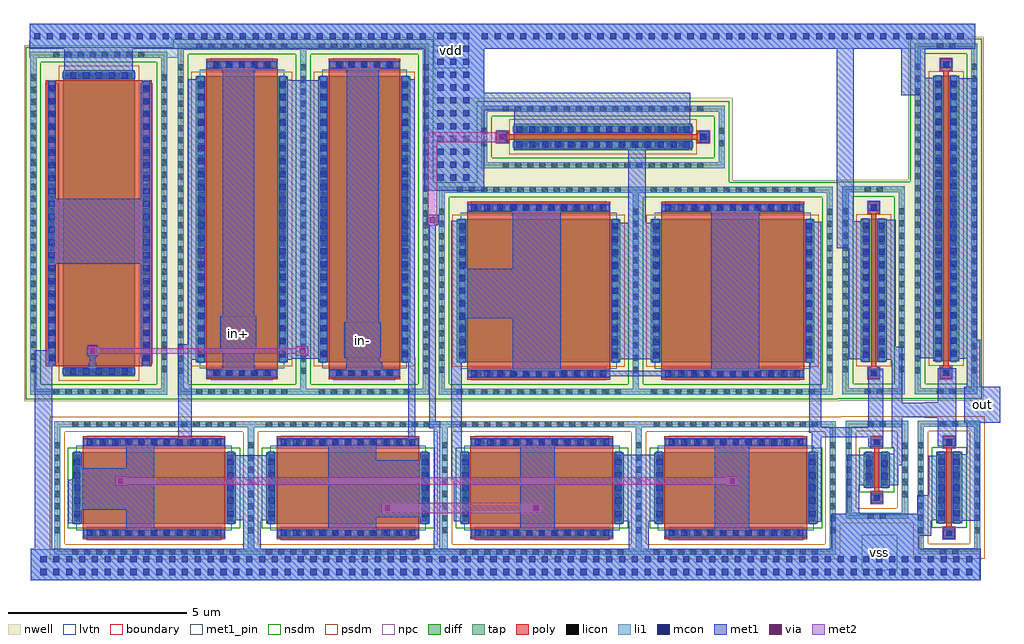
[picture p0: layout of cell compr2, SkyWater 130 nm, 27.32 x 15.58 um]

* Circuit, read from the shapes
.subckt compr2 in+ in- out vdd vss
XM1 vss n1 n1 vss sky130_fd_pr__nfet_01v8_lvt w=2 l=4
XM2 n2 n2 vss vss sky130_fd_pr__nfet_01v8_lvt w=2 l=4
XM3 vss n2 n3 vss sky130_fd_pr__nfet_01v8_lvt w=2 l=4
XM4 n4 n1 vss vss sky130_fd_pr__nfet_01v8_lvt w=2 l=4
XM5 n5 n4 vss vss sky130_fd_pr__nfet_01v8 w=1 l=0.15
XM6 out n5 vss vss sky130_fd_pr__nfet_01v8 w=2 l=0.15
XM7 vdd vss n6 vdd sky130_fd_pr__pfet_01v8 w=2 l=8
XM8 n6 in+ n1 vdd sky130_fd_pr__pfet_01v8_lvt w=8 l=2
XM9 n2 in- n6 vdd sky130_fd_pr__pfet_01v8_lvt w=8 l=2
XM10 n7 n3 n3 vdd sky130_fd_pr__pfet_01v8_lvt w=4 l=4
XM11 vdd vss n7 vdd sky130_fd_pr__pfet_01v8 w=5 l=0.15
XM12 n4 n3 n7 vdd sky130_fd_pr__pfet_01v8_lvt w=4 l=4
XM13 n5 n4 vdd vdd sky130_fd_pr__pfet_01v8 w=4 l=0.15
XM14 out n5 vdd vdd sky130_fd_pr__pfet_01v8 w=8 l=0.15
.ends

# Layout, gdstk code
from math import pi, radians
import gdstk
lib = gdstk.Library(unit=1e-6, precision=1e-09)
def R(c, l, rs):  # rectangles x0, y0, x1, y1
    for r in rs: c.add(gdstk.rectangle(r[:2], r[2:], *l))
def A(c, l, x, y, w, h, nx, ny, dx, dy):  # array of equal rectangles
    R(c, l, [(x+i*dx, y+j*dy, x+i*dx+w, y+j*dy+h) for i in range(nx) for j in range(ny)])
nwell = (64, 20)
diff = (65, 20)
tap = (65, 44)
poly = (66, 20)
licon = (66, 44)
li1 = (67, 20)
mcon = (67, 44)
met1_pin = (68, 16)
met1 = (68, 20)
via = (68, 44)
met2 = (69, 20)
nsdm = (93, 44)
psdm = (94, 20)
npc = (95, 20)
lvtn = (125, 44)
boundary = (235, 4)

sky130_fd_pr__nfet_01v8_ = lib.new_cell('sky130_fd_pr__nfet_01v8_lvt_FMZK9W')
R(sky130_fd_pr__nfet_01v8_, diff, [(-2.29,-1,2.29,1)])
R(sky130_fd_pr__nfet_01v8_, tap, [(-2.8,-1.87,2.8,-1.7), (-2.8,-1.7,-2.63,1.7), (2.63,-1.7,2.8,1.7), (-2.8,1.7,2.8,1.87)])
R(sky130_fd_pr__nfet_01v8_, poly, [(-2,-1.44,2,1.44)])
A(sky130_fd_pr__nfet_01v8_, licon, -2.295, -1.87, 0.17, 0.17, 14, 2, 0.34, 3.57)
A(sky130_fd_pr__nfet_01v8_, licon, -1.785, -1.36, 0.17, 0.17, 11, 2, 0.34, 2.55)
A(sky130_fd_pr__nfet_01v8_, licon, -2.8, -1.275, 0.17, 0.17, 1, 8, 0, 0.34)
A(sky130_fd_pr__nfet_01v8_, licon, 2.63, -1.275, 0.17, 0.17, 1, 8, 0, 0.34)
A(sky130_fd_pr__nfet_01v8_, licon, -2.23, -0.935, 0.17, 0.17, 1, 6, 0, 0.34)
A(sky130_fd_pr__nfet_01v8_, licon, 2.06, -0.935, 0.17, 0.17, 1, 6, 0, 0.34)
R(sky130_fd_pr__nfet_01v8_, li1, [(-2.8,-1.87,2.8,-1.7), (-2.8,-1.7,-2.63,1.7), (2.63,-1.7,2.8,1.7), (-2,-1.36,2,-1.19), (-2.23,-1.02,-2.06,1.02), (2.06,-1.02,2.23,1.02), (-2,1.19,2,1.36), (-2.8,1.7,2.8,1.87)])
A(sky130_fd_pr__nfet_01v8_, mcon, -1.885, -1.36, 0.17, 0.17, 11, 2, 0.36, 2.55)
A(sky130_fd_pr__nfet_01v8_, mcon, -2.23, -0.805, 0.17, 0.17, 1, 5, 0, 0.36)
A(sky130_fd_pr__nfet_01v8_, mcon, 2.06, -0.805, 0.17, 0.17, 1, 5, 0, 0.36)
R(sky130_fd_pr__nfet_01v8_, met1, [(-1.98,-1.39,1.98,-1.16), (-2.26,-1,-2.03,1), (2.03,-1,2.26,1), (-1.98,1.16,1.98,1.39)])
R(sky130_fd_pr__nfet_01v8_, nsdm, [(-2.415,-1.125,2.415,1.125)])
R(sky130_fd_pr__nfet_01v8_, psdm, [(-2.925,-1.995,2.925,-1.575), (-2.925,-1.575,-2.505,1.575), (2.505,-1.575,2.925,1.575), (-2.925,1.575,2.925,1.995)])
R(sky130_fd_pr__nfet_01v8_, npc, [(-1.885,-1.46,1.885,-1.09), (-1.885,1.09,1.885,1.46)])
R(sky130_fd_pr__nfet_01v8_, lvtn, [(-2.18,-1.18,2.18,1.18)])
R(sky130_fd_pr__nfet_01v8_, boundary, [(-2.71,-1.78,2.71,1.78)])

sky130_fd_pr__pfet_01v8_ = lib.new_cell('sky130_fd_pr__pfet_01v8_lvt_GWPMZG')
R(sky130_fd_pr__pfet_01v8_, nwell, [(-1.98,-5.095,1.98,5.095)])
R(sky130_fd_pr__pfet_01v8_, diff, [(-1.29,-4,1.29,4)])
R(sky130_fd_pr__pfet_01v8_, tap, [(-1.8,-4.915,1.8,-4.745), (-1.8,-4.745,-1.63,4.745), (1.63,-4.745,1.8,4.745), (-1.8,4.745,1.8,4.915)])
R(sky130_fd_pr__pfet_01v8_, poly, [(-1,-4.485,1,4.485)])
A(sky130_fd_pr__pfet_01v8_, licon, -1.275, -4.915, 0.17, 0.17, 8, 2, 0.34, 9.66)
A(sky130_fd_pr__pfet_01v8_, licon, -0.765, -4.405, 0.17, 0.17, 5, 2, 0.34, 8.64)
A(sky130_fd_pr__pfet_01v8_, licon, -1.8, -4.335, 0.17, 0.17, 1, 26, 0, 0.34)
A(sky130_fd_pr__pfet_01v8_, licon, 1.63, -4.335, 0.17, 0.17, 1, 26, 0, 0.34)
A(sky130_fd_pr__pfet_01v8_, licon, -1.23, -3.825, 0.17, 0.17, 1, 23, 0, 0.34)
A(sky130_fd_pr__pfet_01v8_, licon, 1.06, -3.825, 0.17, 0.17, 1, 23, 0, 0.34)
R(sky130_fd_pr__pfet_01v8_, li1, [(-1.8,-4.915,1.8,-4.745), (-1.8,-4.745,-1.63,4.745), (1.63,-4.745,1.8,4.745), (-1,-4.405,1,-4.235), (-1.23,-4.02,-1.06,4.02), (1.06,-4.02,1.23,4.02), (-1,4.235,1,4.405), (-1.8,4.745,1.8,4.915)])
A(sky130_fd_pr__pfet_01v8_, mcon, -0.805, -4.405, 0.17, 0.17, 5, 2, 0.36, 8.64)
A(sky130_fd_pr__pfet_01v8_, mcon, -1.23, -3.865, 0.17, 0.17, 1, 22, 0, 0.36)
A(sky130_fd_pr__pfet_01v8_, mcon, 1.06, -3.865, 0.17, 0.17, 1, 22, 0, 0.36)
R(sky130_fd_pr__pfet_01v8_, met1, [(-0.98,-4.435,0.98,-4.205), (-1.26,-4,-1.03,4), (1.03,-4,1.26,4), (-0.98,4.205,0.98,4.435)])
R(sky130_fd_pr__pfet_01v8_, nsdm, [(-1.925,-5.04,1.925,-4.62), (-1.925,-4.62,-1.505,4.62), (1.505,-4.62,1.925,4.62), (-1.925,4.62,1.925,5.04)])
R(sky130_fd_pr__pfet_01v8_, psdm, [(-1.415,-4.125,1.415,4.125)])
R(sky130_fd_pr__pfet_01v8_, npc, [(-0.865,-4.505,0.865,-4.135), (-0.865,4.135,0.865,4.505)])
R(sky130_fd_pr__pfet_01v8_, lvtn, [(-1.18,-4.18,1.18,4.18)])
R(sky130_fd_pr__pfet_01v8_, boundary, [(-1.715,-4.83,1.715,4.83)])

c_sky130_fd_pr__pfet_01v8_ = lib.new_cell('sky130_fd_pr__pfet_01v8_GGY9VD')
R(c_sky130_fd_pr__pfet_01v8_, nwell, [(-4.98,-2.095,4.98,2.095)])
R(c_sky130_fd_pr__pfet_01v8_, diff, [(-4.29,-1,4.29,1)])
R(c_sky130_fd_pr__pfet_01v8_, tap, [(-4.8,-1.915,4.8,-1.745), (-4.8,-1.745,-4.63,1.745), (4.63,-1.745,4.8,1.745), (-4.8,1.745,4.8,1.915)])
R(c_sky130_fd_pr__pfet_01v8_, poly, [(-4,-1.485,4,1.485)])
A(c_sky130_fd_pr__pfet_01v8_, licon, -4.165, -1.915, 0.17, 0.17, 25, 2, 0.34, 3.66)
A(c_sky130_fd_pr__pfet_01v8_, licon, -3.825, -1.405, 0.17, 0.17, 23, 2, 0.34, 2.64)
A(c_sky130_fd_pr__pfet_01v8_, licon, -4.8, -1.275, 0.17, 0.17, 1, 8, 0, 0.34)
A(c_sky130_fd_pr__pfet_01v8_, licon, 4.63, -1.275, 0.17, 0.17, 1, 8, 0, 0.34)
A(c_sky130_fd_pr__pfet_01v8_, licon, -4.23, -0.935, 0.17, 0.17, 1, 6, 0, 0.34)
A(c_sky130_fd_pr__pfet_01v8_, licon, 4.06, -0.935, 0.17, 0.17, 1, 6, 0, 0.34)
R(c_sky130_fd_pr__pfet_01v8_, li1, [(-4.8,-1.915,4.8,-1.745), (-4.8,-1.745,-4.63,1.745), (4.63,-1.745,4.8,1.745), (-4,-1.405,4,-1.235), (-4.23,-1.02,-4.06,1.02), (4.06,-1.02,4.23,1.02), (-4,1.235,4,1.405), (-4.8,1.745,4.8,1.915)])
A(c_sky130_fd_pr__pfet_01v8_, mcon, -3.865, -1.405, 0.17, 0.17, 22, 2, 0.36, 2.64)
A(c_sky130_fd_pr__pfet_01v8_, mcon, -4.23, -0.805, 0.17, 0.17, 1, 5, 0, 0.36)
A(c_sky130_fd_pr__pfet_01v8_, mcon, 4.06, -0.805, 0.17, 0.17, 1, 5, 0, 0.36)
R(c_sky130_fd_pr__pfet_01v8_, met1, [(-3.98,-1.435,3.98,-1.205), (-4.26,-1,-4.03,1), (4.03,-1,4.26,1), (-3.98,1.205,3.98,1.435)])
R(c_sky130_fd_pr__pfet_01v8_, nsdm, [(-4.925,-2.04,4.925,-1.62), (-4.925,-1.62,-4.505,1.62), (4.505,-1.62,4.925,1.62), (-4.925,1.62,4.925,2.04)])
R(c_sky130_fd_pr__pfet_01v8_, psdm, [(-4.415,-1.125,4.415,1.125)])
R(c_sky130_fd_pr__pfet_01v8_, npc, [(-3.925,-1.505,3.925,-1.135), (-3.925,1.135,3.925,1.505)])
R(c_sky130_fd_pr__pfet_01v8_, boundary, [(-4.715,-1.83,4.715,1.83)])

c_sky130_fd_pr__pfet_01v8__ = lib.new_cell('sky130_fd_pr__pfet_01v8_lvt_ZQZ9VD')
R(c_sky130_fd_pr__pfet_01v8__, nwell, [(-2.98,-3.095,2.98,3.095)])
R(c_sky130_fd_pr__pfet_01v8__, diff, [(-2.29,-2,2.29,2)])
R(c_sky130_fd_pr__pfet_01v8__, tap, [(-2.8,-2.915,2.8,-2.745), (-2.8,-2.745,-2.63,2.745), (2.63,-2.745,2.8,2.745), (-2.8,2.745,2.8,2.915)])
R(c_sky130_fd_pr__pfet_01v8__, poly, [(-2,-2.485,2,2.485)])
A(c_sky130_fd_pr__pfet_01v8__, licon, -2.295, -2.915, 0.17, 0.17, 14, 2, 0.34, 5.66)
A(c_sky130_fd_pr__pfet_01v8__, licon, -1.785, -2.405, 0.17, 0.17, 11, 2, 0.34, 4.64)
A(c_sky130_fd_pr__pfet_01v8__, licon, -2.8, -2.295, 0.17, 0.17, 1, 14, 0, 0.34)
A(c_sky130_fd_pr__pfet_01v8__, licon, 2.63, -2.295, 0.17, 0.17, 1, 14, 0, 0.34)
A(c_sky130_fd_pr__pfet_01v8__, licon, -2.23, -1.785, 0.17, 0.17, 1, 11, 0, 0.34)
A(c_sky130_fd_pr__pfet_01v8__, licon, 2.06, -1.785, 0.17, 0.17, 1, 11, 0, 0.34)
R(c_sky130_fd_pr__pfet_01v8__, li1, [(-2.8,-2.915,2.8,-2.745), (-2.8,-2.745,-2.63,2.745), (2.63,-2.745,2.8,2.745), (-2,-2.405,2,-2.235), (-2.23,-2.02,-2.06,2.02), (2.06,-2.02,2.23,2.02), (-2,2.235,2,2.405), (-2.8,2.745,2.8,2.915)])
A(c_sky130_fd_pr__pfet_01v8__, mcon, -1.885, -2.405, 0.17, 0.17, 11, 2, 0.36, 4.64)
A(c_sky130_fd_pr__pfet_01v8__, mcon, -2.23, -1.885, 0.17, 0.17, 1, 11, 0, 0.36)
A(c_sky130_fd_pr__pfet_01v8__, mcon, 2.06, -1.885, 0.17, 0.17, 1, 11, 0, 0.36)
R(c_sky130_fd_pr__pfet_01v8__, met1, [(-1.98,-2.435,1.98,-2.205), (-2.26,-2,-2.03,2), (2.03,-2,2.26,2), (-1.98,2.205,1.98,2.435)])
R(c_sky130_fd_pr__pfet_01v8__, nsdm, [(-2.925,-3.04,2.925,-2.62), (-2.925,-2.62,-2.505,2.62), (2.505,-2.62,2.925,2.62), (-2.925,2.62,2.925,3.04)])
R(c_sky130_fd_pr__pfet_01v8__, psdm, [(-2.415,-2.125,2.415,2.125)])
R(c_sky130_fd_pr__pfet_01v8__, npc, [(-1.885,-2.505,1.885,-2.135), (-1.885,2.135,1.885,2.505)])
R(c_sky130_fd_pr__pfet_01v8__, lvtn, [(-2.18,-2.18,2.18,2.18)])
R(c_sky130_fd_pr__pfet_01v8__, boundary, [(-2.715,-2.83,2.715,2.83)])

c_sky130_fd_pr__pfet_01v8___ = lib.new_cell('sky130_fd_pr__pfet_01v8_UGSVTG')
R(c_sky130_fd_pr__pfet_01v8___, nwell, [(-1.055,-3.595,1.055,3.595)])
R(c_sky130_fd_pr__pfet_01v8___, diff, [(-0.365,-2.5,0.365,2.5)])
R(c_sky130_fd_pr__pfet_01v8___, tap, [(-0.875,-3.415,0.875,-3.245), (-0.875,-3.245,-0.705,3.245), (0.705,-3.245,0.875,3.245), (-0.875,3.245,0.875,3.415)])
R(c_sky130_fd_pr__pfet_01v8___, poly, [(-0.165,-2.985,0.165,-2.655), (-0.075,-2.655,0.075,2.655), (-0.165,2.655,0.165,2.985)])
A(c_sky130_fd_pr__pfet_01v8___, licon, -0.875, -2.805, 0.17, 0.17, 1, 17, 0, 0.34)
A(c_sky130_fd_pr__pfet_01v8___, licon, 0.705, -2.805, 0.17, 0.17, 1, 17, 0, 0.34)
A(c_sky130_fd_pr__pfet_01v8___, licon, -0.305, -2.295, 0.17, 0.17, 1, 14, 0, 0.34)
A(c_sky130_fd_pr__pfet_01v8___, licon, 0.135, -2.295, 0.17, 0.17, 1, 14, 0, 0.34)
R(c_sky130_fd_pr__pfet_01v8___, licon, [(-0.255,-3.415,-0.085,-3.245), (0.085,-3.415,0.255,-3.245), (-0.085,-2.905,0.085,-2.735), (-0.085,2.735,0.085,2.905), (-0.255,3.245,-0.085,3.415), (0.085,3.245,0.255,3.415)])
R(c_sky130_fd_pr__pfet_01v8___, li1, [(-0.875,-3.415,0.875,-3.245), (-0.875,-3.245,-0.705,3.245), (0.705,-3.245,0.875,3.245), (-0.165,-2.905,0.165,-2.735), (-0.305,-2.52,-0.135,2.52), (0.135,-2.52,0.305,2.52), (-0.165,2.735,0.165,2.905), (-0.875,3.245,0.875,3.415)])
A(c_sky130_fd_pr__pfet_01v8___, mcon, -0.305, -2.425, 0.17, 0.17, 1, 14, 0, 0.36)
A(c_sky130_fd_pr__pfet_01v8___, mcon, 0.135, -2.425, 0.17, 0.17, 1, 14, 0, 0.36)
R(c_sky130_fd_pr__pfet_01v8___, mcon, [(-0.085,-2.905,0.085,-2.735), (-0.085,2.735,0.085,2.905)])
R(c_sky130_fd_pr__pfet_01v8___, met1, [(-0.145,-2.935,0.145,-2.705), (-0.335,-2.5,-0.105,2.5), (0.105,-2.5,0.335,2.5), (-0.145,2.705,0.145,2.935)])
R(c_sky130_fd_pr__pfet_01v8___, nsdm, [(-1,-3.54,1,-3.12), (-1,-3.12,-0.58,3.12), (0.58,-3.12,1,3.12), (-1,3.12,1,3.54)])
R(c_sky130_fd_pr__pfet_01v8___, psdm, [(-0.49,-2.625,0.49,2.625)])
R(c_sky130_fd_pr__pfet_01v8___, npc, [(-0.185,-3.005,0.185,-2.635), (-0.185,2.635,0.185,3.005)])
R(c_sky130_fd_pr__pfet_01v8___, boundary, [(-0.79,-3.33,0.79,3.33)])

c_sky130_fd_pr__pfet_01v8____ = lib.new_cell('sky130_fd_pr__pfet_01v8_XGASDL')
R(c_sky130_fd_pr__pfet_01v8____, nwell, [(-1.055,-3.095,1.055,3.095)])
R(c_sky130_fd_pr__pfet_01v8____, diff, [(-0.365,-2,0.365,2)])
R(c_sky130_fd_pr__pfet_01v8____, tap, [(-0.875,-2.915,0.875,-2.745), (-0.875,-2.745,-0.705,2.745), (0.705,-2.745,0.875,2.745), (-0.875,2.745,0.875,2.915)])
R(c_sky130_fd_pr__pfet_01v8____, poly, [(-0.165,-2.485,0.165,-2.155), (-0.075,-2.155,0.075,2.155), (-0.165,2.155,0.165,2.485)])
A(c_sky130_fd_pr__pfet_01v8____, licon, -0.875, -2.295, 0.17, 0.17, 1, 14, 0, 0.34)
A(c_sky130_fd_pr__pfet_01v8____, licon, 0.705, -2.295, 0.17, 0.17, 1, 14, 0, 0.34)
A(c_sky130_fd_pr__pfet_01v8____, licon, -0.305, -1.785, 0.17, 0.17, 1, 11, 0, 0.34)
A(c_sky130_fd_pr__pfet_01v8____, licon, 0.135, -1.785, 0.17, 0.17, 1, 11, 0, 0.34)
R(c_sky130_fd_pr__pfet_01v8____, licon, [(-0.255,-2.915,-0.085,-2.745), (0.085,-2.915,0.255,-2.745), (-0.085,-2.405,0.085,-2.235), (-0.085,2.235,0.085,2.405), (-0.255,2.745,-0.085,2.915), (0.085,2.745,0.255,2.915)])
R(c_sky130_fd_pr__pfet_01v8____, li1, [(-0.875,-2.915,0.875,-2.745), (-0.875,-2.745,-0.705,2.745), (0.705,-2.745,0.875,2.745), (-0.165,-2.405,0.165,-2.235), (-0.305,-2.02,-0.135,2.02), (0.135,-2.02,0.305,2.02), (-0.165,2.235,0.165,2.405), (-0.875,2.745,0.875,2.915)])
A(c_sky130_fd_pr__pfet_01v8____, mcon, -0.305, -1.885, 0.17, 0.17, 1, 11, 0, 0.36)
A(c_sky130_fd_pr__pfet_01v8____, mcon, 0.135, -1.885, 0.17, 0.17, 1, 11, 0, 0.36)
R(c_sky130_fd_pr__pfet_01v8____, mcon, [(-0.085,-2.405,0.085,-2.235), (-0.085,2.235,0.085,2.405)])
R(c_sky130_fd_pr__pfet_01v8____, met1, [(-0.145,-2.435,0.145,-2.205), (-0.335,-2,-0.105,2), (0.105,-2,0.335,2), (-0.145,2.205,0.145,2.435)])
R(c_sky130_fd_pr__pfet_01v8____, nsdm, [(-1,-3.04,1,-2.62), (-1,-2.62,-0.58,2.62), (0.58,-2.62,1,2.62), (-1,2.62,1,3.04)])
R(c_sky130_fd_pr__pfet_01v8____, psdm, [(-0.49,-2.125,0.49,2.125)])
R(c_sky130_fd_pr__pfet_01v8____, npc, [(-0.185,-2.505,0.185,-2.135), (-0.185,2.135,0.185,2.505)])
R(c_sky130_fd_pr__pfet_01v8____, boundary, [(-0.79,-2.83,0.79,2.83)])

c_sky130_fd_pr__nfet_01v8_ = lib.new_cell('sky130_fd_pr__nfet_01v8_648S5X')
R(c_sky130_fd_pr__nfet_01v8_, diff, [(-0.365,-0.5,0.365,0.5)])
R(c_sky130_fd_pr__nfet_01v8_, tap, [(-0.875,-1.37,0.875,-1.2), (-0.875,-1.2,-0.705,1.2), (0.705,-1.2,0.875,1.2), (-0.875,1.2,0.875,1.37)])
R(c_sky130_fd_pr__nfet_01v8_, poly, [(-0.165,-0.94,0.165,-0.61), (-0.075,-0.61,0.075,0.61), (-0.165,0.61,0.165,0.94)])
A(c_sky130_fd_pr__nfet_01v8_, licon, -0.875, -0.765, 0.17, 0.17, 1, 5, 0, 0.34)
A(c_sky130_fd_pr__nfet_01v8_, licon, 0.705, -0.765, 0.17, 0.17, 1, 5, 0, 0.34)
A(c_sky130_fd_pr__nfet_01v8_, licon, -0.305, -0.425, 0.17, 0.17, 1, 3, 0, 0.34)
A(c_sky130_fd_pr__nfet_01v8_, licon, 0.135, -0.425, 0.17, 0.17, 1, 3, 0, 0.34)
R(c_sky130_fd_pr__nfet_01v8_, licon, [(-0.255,-1.37,-0.085,-1.2), (0.085,-1.37,0.255,-1.2), (-0.085,-0.86,0.085,-0.69), (-0.085,0.69,0.085,0.86), (-0.255,1.2,-0.085,1.37), (0.085,1.2,0.255,1.37)])
R(c_sky130_fd_pr__nfet_01v8_, li1, [(-0.875,-1.37,0.875,-1.2), (-0.875,-1.2,-0.705,1.2), (0.705,-1.2,0.875,1.2), (-0.165,-0.86,0.165,-0.69), (-0.305,-0.52,-0.135,0.52), (0.135,-0.52,0.305,0.52), (-0.165,0.69,0.165,0.86), (-0.875,1.2,0.875,1.37)])
R(c_sky130_fd_pr__nfet_01v8_, mcon, [(-0.085,-0.86,0.085,-0.69), (-0.305,-0.265,-0.135,-0.095), (0.135,-0.265,0.305,-0.095), (-0.305,0.095,-0.135,0.265), (0.135,0.095,0.305,0.265), (-0.085,0.69,0.085,0.86)])
R(c_sky130_fd_pr__nfet_01v8_, met1, [(-0.145,-0.89,0.145,-0.66), (-0.335,-0.5,-0.105,0.5), (0.105,-0.5,0.335,0.5), (-0.145,0.66,0.145,0.89)])
R(c_sky130_fd_pr__nfet_01v8_, nsdm, [(-0.49,-0.625,0.49,0.625)])
R(c_sky130_fd_pr__nfet_01v8_, psdm, [(-1,-1.495,1,-1.075), (-1,-1.075,-0.58,1.075), (0.58,-1.075,1,1.075), (-1,1.075,1,1.495)])
R(c_sky130_fd_pr__nfet_01v8_, npc, [(-0.185,-0.96,0.185,-0.59), (-0.185,0.59,0.185,0.96)])
R(c_sky130_fd_pr__nfet_01v8_, boundary, [(-0.79,-1.285,0.79,1.285)])

c_sky130_fd_pr__pfet_01v8_____ = lib.new_cell('sky130_fd_pr__pfet_01v8_UGACMG')
R(c_sky130_fd_pr__pfet_01v8_____, nwell, [(-1.055,-5.095,1.055,5.095)])
R(c_sky130_fd_pr__pfet_01v8_____, diff, [(-0.365,-4,0.365,4)])
R(c_sky130_fd_pr__pfet_01v8_____, tap, [(-0.875,-4.915,0.875,-4.745), (-0.875,-4.745,-0.705,4.745), (0.705,-4.745,0.875,4.745), (-0.875,4.745,0.875,4.915)])
R(c_sky130_fd_pr__pfet_01v8_____, poly, [(-0.165,-4.485,0.165,-4.155), (-0.075,-4.155,0.075,4.155), (-0.165,4.155,0.165,4.485)])
A(c_sky130_fd_pr__pfet_01v8_____, licon, -0.875, -4.335, 0.17, 0.17, 1, 26, 0, 0.34)
A(c_sky130_fd_pr__pfet_01v8_____, licon, 0.705, -4.335, 0.17, 0.17, 1, 26, 0, 0.34)
A(c_sky130_fd_pr__pfet_01v8_____, licon, -0.305, -3.825, 0.17, 0.17, 1, 23, 0, 0.34)
A(c_sky130_fd_pr__pfet_01v8_____, licon, 0.135, -3.825, 0.17, 0.17, 1, 23, 0, 0.34)
R(c_sky130_fd_pr__pfet_01v8_____, licon, [(-0.255,-4.915,-0.085,-4.745), (0.085,-4.915,0.255,-4.745), (-0.085,-4.405,0.085,-4.235), (-0.085,4.235,0.085,4.405), (-0.255,4.745,-0.085,4.915), (0.085,4.745,0.255,4.915)])
R(c_sky130_fd_pr__pfet_01v8_____, li1, [(-0.875,-4.915,0.875,-4.745), (-0.875,-4.745,-0.705,4.745), (0.705,-4.745,0.875,4.745), (-0.165,-4.405,0.165,-4.235), (-0.305,-4.02,-0.135,4.02), (0.135,-4.02,0.305,4.02), (-0.165,4.235,0.165,4.405), (-0.875,4.745,0.875,4.915)])
A(c_sky130_fd_pr__pfet_01v8_____, mcon, -0.305, -3.865, 0.17, 0.17, 1, 22, 0, 0.36)
A(c_sky130_fd_pr__pfet_01v8_____, mcon, 0.135, -3.865, 0.17, 0.17, 1, 22, 0, 0.36)
R(c_sky130_fd_pr__pfet_01v8_____, mcon, [(-0.085,-4.405,0.085,-4.235), (-0.085,4.235,0.085,4.405)])
R(c_sky130_fd_pr__pfet_01v8_____, met1, [(-0.145,-4.435,0.145,-4.205), (-0.335,-4,-0.105,4), (0.105,-4,0.335,4), (-0.145,4.205,0.145,4.435)])
R(c_sky130_fd_pr__pfet_01v8_____, nsdm, [(-1,-5.04,1,-4.62), (-1,-4.62,-0.58,4.62), (0.58,-4.62,1,4.62), (-1,4.62,1,5.04)])
R(c_sky130_fd_pr__pfet_01v8_____, psdm, [(-0.49,-4.125,0.49,4.125)])
R(c_sky130_fd_pr__pfet_01v8_____, npc, [(-0.185,-4.505,0.185,-4.135), (-0.185,4.135,0.185,4.505)])
R(c_sky130_fd_pr__pfet_01v8_____, boundary, [(-0.79,-4.83,0.79,4.83)])

c_sky130_fd_pr__nfet_01v8__ = lib.new_cell('sky130_fd_pr__nfet_01v8_ATLS57')
R(c_sky130_fd_pr__nfet_01v8__, diff, [(-0.365,-1,0.365,1)])
R(c_sky130_fd_pr__nfet_01v8__, tap, [(-0.875,-1.87,0.875,-1.7), (-0.875,-1.7,-0.705,1.7), (0.705,-1.7,0.875,1.7), (-0.875,1.7,0.875,1.87)])
R(c_sky130_fd_pr__nfet_01v8__, poly, [(-0.165,-1.44,0.165,-1.11), (-0.075,-1.11,0.075,1.11), (-0.165,1.11,0.165,1.44)])
A(c_sky130_fd_pr__nfet_01v8__, licon, -0.875, -1.275, 0.17, 0.17, 1, 8, 0, 0.34)
A(c_sky130_fd_pr__nfet_01v8__, licon, 0.705, -1.275, 0.17, 0.17, 1, 8, 0, 0.34)
A(c_sky130_fd_pr__nfet_01v8__, licon, -0.305, -0.935, 0.17, 0.17, 1, 6, 0, 0.34)
A(c_sky130_fd_pr__nfet_01v8__, licon, 0.135, -0.935, 0.17, 0.17, 1, 6, 0, 0.34)
R(c_sky130_fd_pr__nfet_01v8__, licon, [(-0.255,-1.87,-0.085,-1.7), (0.085,-1.87,0.255,-1.7), (-0.085,-1.36,0.085,-1.19), (-0.085,1.19,0.085,1.36), (-0.255,1.7,-0.085,1.87), (0.085,1.7,0.255,1.87)])
R(c_sky130_fd_pr__nfet_01v8__, li1, [(-0.875,-1.87,0.875,-1.7), (-0.875,-1.7,-0.705,1.7), (0.705,-1.7,0.875,1.7), (-0.165,-1.36,0.165,-1.19), (-0.305,-1.02,-0.135,1.02), (0.135,-1.02,0.305,1.02), (-0.165,1.19,0.165,1.36), (-0.875,1.7,0.875,1.87)])
A(c_sky130_fd_pr__nfet_01v8__, mcon, -0.305, -0.805, 0.17, 0.17, 1, 5, 0, 0.36)
A(c_sky130_fd_pr__nfet_01v8__, mcon, 0.135, -0.805, 0.17, 0.17, 1, 5, 0, 0.36)
R(c_sky130_fd_pr__nfet_01v8__, mcon, [(-0.085,-1.36,0.085,-1.19), (-0.085,1.19,0.085,1.36)])
R(c_sky130_fd_pr__nfet_01v8__, met1, [(-0.145,-1.39,0.145,-1.16), (-0.335,-1,-0.105,1), (0.105,-1,0.335,1), (-0.145,1.16,0.145,1.39)])
R(c_sky130_fd_pr__nfet_01v8__, nsdm, [(-0.49,-1.125,0.49,1.125)])
R(c_sky130_fd_pr__nfet_01v8__, psdm, [(-1,-1.995,1,-1.575), (-1,-1.575,-0.58,1.575), (0.58,-1.575,1,1.575), (-1,1.575,1,1.995)])
R(c_sky130_fd_pr__nfet_01v8__, npc, [(-0.185,-1.46,0.185,-1.09), (-0.185,1.09,0.185,1.46)])
R(c_sky130_fd_pr__nfet_01v8__, boundary, [(-0.79,-1.785,0.79,1.785)])

compr2 = lib.new_cell('compr2')
R(compr2, nwell, [(13.21,-1.995,14.26,4.01), (13.21,4.01,22.395,4.2), (13.755,4.2,22.395,6.495)])
R(compr2, li1, [(2.735,-7.015,29.315,-6.15), (25.145,-6.15,27.72,-5.155), (13.76,3.89,15.44,7.865), (2.695,7.61,6.93,7.865), (2.695,7.865,29.185,8.085), (2.71,8.085,29.185,8.565)])
A(compr2, mcon, 3.01, -6.87, 0.17, 0.17, 73, 2, 0.36, 0.36)
A(compr2, mcon, 14.125, 4.175, 0.17, 0.17, 3, 12, 0.36, 0.36)
A(compr2, mcon, 2.83, 8.135, 0.17, 0.17, 31, 1, 0.36, 0)
A(compr2, mcon, 15.365, 8.135, 0.17, 0.17, 38, 1, 0.36, 0)
R(compr2, met1_pin, [(26.005,-6.735,27.005,-5.735), (28.875,-2.6,29.875,-1.6), (11.54,-0.79,12.54,0.21), (8.055,-0.62,9.055,0.38), (14.005,7.315,15.005,8.315)])
R(compr2, met1, [(2.735,-7.015,29.34,-6.14), (2.85,-6.14,3.345,-0.935), (3.79,-6.14,4.015,-6.13), (8.69,-6.14,9.18,-5.34), (14.015,-6.14,14.205,-5.61), (19.485,-6.14,20.04,-5.365), (25.145,-6.14,27.61,-5.775), (28.28,-5.85,28.615,-5.6), (15.1,-5.82,18.94,-5.64), (20.545,-5.795,24.385,-5.615), (9.705,-5.785,13.535,-5.625), (25.145,-5.775,27.95,-5.335), (4.275,-5.77,8.095,-5.615), (16.45,-5.64,17.405,-3.245), (11.075,-5.625,12.415,-5.245), (5.41,-5.615,6.2,-5.045), (21.895,-5.615,22.85,-3.245), (14.03,-5.61,14.205,-3.265), (3.79,-5.42,4.015,-5.375), (3.79,-5.375,4.13,-5.045), (24.535,-5.375,24.875,-3.425), (14.575,-5.37,14.985,-4.19), (19.115,-5.365,20.41,-3.495), (28.57,-5.35,29.315,-3.81), (8.28,-5.34,9.535,-3.515), (25.145,-5.335,28.285,-5.155), (11.075,-5.245,13.825,-3.65), (25.585,-5.155,25.94,-4.355), (27.565,-5.155,28.285,-4.63), (3.79,-5.045,6.2,-4.2), (26.265,-4.86,26.6,-4.61), (27.885,-4.63,28.285,-3.525), (25.585,-4.355,26.275,-4.165), (26.575,-4.355,27.025,-3.8), (3.875,-4.2,6.2,-4.185), (14.505,-4.19,14.985,-3.485), (3.96,-4.185,6.2,-3.88), (25.595,-4.165,26.275,-3.495), (3.96,-3.88,4.13,-3.49), (5.41,-3.88,6.2,-3.235), (28.57,-3.81,29.32,-3.485), (26.575,-3.8,27.14,-3.47), (11.075,-3.65,12.415,-3.235), (14.505,-3.485,14.8,-0.9), (28.95,-3.485,29.32,-2.6), (26.9,-3.47,27.14,-3.285), (24.61,-3.425,24.875,-3.005), (26.84,-3.285,27.14,-2.445), (26.185,-3.28,26.605,-3.005), (28.135,-3.27,28.65,-2.57), (14.015,-3.265,14.205,-2.755), (15.15,-3.245,18.99,-3.065), (20.545,-3.245,24.385,-3.065), (4.27,-3.235,8.09,-3.08), (9.67,-3.235,13.5,-3.075), (6.87,-3.08,7.24,-0.845), (13.305,-3.075,13.5,-0.815), (24.61,-3.005,26.605,-2.89), (24.535,-2.89,26.605,-2.735), (13.89,-2.755,14.205,-2.565), (24.535,-2.735,24.875,-0.87), (26.185,-2.735,26.605,-1.09), (28.875,-2.6,29.875,-1.6), (28.135,-2.57,28.645,-2.46), (13.89,-2.565,14.08,2.94), (27.77,-2.46,28.645,-2.445), (26.84,-2.445,28.645,-2.04), (26.84,-2.04,27.14,-0.845), (27.77,-2.04,28.645,-2.035), (28.135,-2.035,28.645,-1.57), (28.95,-1.6,29.32,-0.815), (28.135,-1.57,28.65,-1.08), (11.125,-1.345,13.01,-1.135), (7.695,-1.34,9.58,-1.13), (15.04,-1.305,24.36,-1.145), (3.7,-1.24,5.59,-1.095), (16.235,-1.145,17.58,0.325), (21.785,-1.145,23.13,3.325), (11.57,-1.135,12.58,-0.93), (8.11,-1.13,9,-0.62), (4.365,-1.095,4.57,-0.915), (6.03,-0.96,6.035,-0.75), (2.85,-0.935,3.44,-0.57), (11.58,-0.93,12.49,-0.79), (4.39,-0.915,4.54,-0.755), (14.505,-0.9,14.88,-0.405), (24.485,-0.87,24.875,3.02), (6.87,-0.845,7.59,-0.405), (26.48,-0.845,27.14,-0.475), (9.72,-0.835,10.035,-0.815), (19.035,-0.83,20.305,2.995), (25.64,-0.83,26.155,2.285), (9.72,-0.815,10.965,6.985), (13.17,-0.815,13.5,-0.77), (28.52,-0.815,29.32,-0.285), (27.64,-0.795,28.205,6.56), (11.51,-0.79,12.54,0.21), (13.17,-0.77,13.485,7.015), (4.335,-0.755,4.595,-0.435), (5.82,-0.75,6.035,1.85), (8.04,-0.62,9.055,0.38), (3.225,-0.57,3.44,1.85), (26.48,-0.475,26.955,3.08), (7.15,-0.405,7.59,7.015), (14.51,-0.405,14.88,0.325), (28.52,-0.285,29.245,7.035), (11.585,0.21,12.475,0.62), (14.51,0.325,17.58,1.71), (8.11,0.38,9,7.325), (11.58,0.62,12.48,2.24), (14.51,1.71,14.88,3.045), (16.235,1.71,17.58,3.325), (3.225,1.85,6.035,3.665), (11.585,2.24,12.475,7.325), (25.305,2.285,26.155,3.03), (13.82,2.94,14.155,3.215), (19.465,2.995,19.955,5.05), (24.535,3.02,24.875,3.025), (25.305,3.03,25.78,7.865), (15.035,3.325,18.95,3.33), (20.525,3.325,24.355,3.505), (15.005,3.33,18.95,3.49), (26.175,3.34,26.51,3.59), (15.035,3.49,18.95,3.505), (16.305,3.505,18.95,3.53), (20.525,3.505,21.16,3.53), (3.225,3.665,3.44,6.905), (5.82,3.665,6.035,6.88), (13.76,3.89,15.44,6.15), (16.305,5.05,21.16,5.25), (15.78,5.235,16.035,5.25), (21.47,5.235,21.725,5.565), (15.75,5.25,16.085,5.525), (15.78,5.525,16.035,5.565), (16.275,5.53,21.2,6.15), (13.76,6.15,21.2,6.63), (27.105,6.56,28.205,7.06), (13.76,6.63,15.44,7.865), (16.275,6.63,21.2,6.64), (9.72,6.985,10.035,6.995), (27.105,7.06,27.785,7.865), (3.68,7.105,5.59,7.865), (7.68,7.325,9.565,7.535), (11.125,7.325,13.01,7.535), (28.205,7.34,28.54,7.59), (2.71,7.865,29.185,8.565)])
R(compr2, via, [(12.655,-5.065,12.805,-4.915), (16.805,-5.065,16.955,-4.915), (5.185,-4.31,5.335,-4.16), (22.305,-4.31,22.455,-4.16), (4.39,-0.67,4.54,-0.52), (10.27,-0.67,10.42,-0.52), (13.91,3,14.06,3.15), (15.84,5.31,15.99,5.46)])
R(compr2, met2, [(12.555,-5.135,17.06,-4.84), (5.1,-4.365,5.42,-4.34), (22.22,-4.365,22.54,-4.34), (5.1,-4.34,22.54,-4.13), (5.1,-4.13,5.42,-4.105), (22.22,-4.13,22.54,-4.105), (4.305,-0.725,4.625,-0.67), (10.185,-0.725,10.505,-0.67), (4.305,-0.67,10.505,-0.52), (4.305,-0.52,4.625,-0.465), (10.185,-0.52,10.505,-0.465), (13.85,2.91,14.125,5.25), (15.78,5.22,16.055,5.25), (13.85,5.25,16.055,5.525), (15.78,5.525,16.055,5.555)])
R(compr2, nsdm, [(6.685,-1.945,6.725,7.905), (14.005,-1.945,14.035,4.13), (25.315,-1.935,25.34,4.13), (27.34,-1.93,27.365,4.145), (15.22,4.13,22.3,4.395)])
R(compr2, psdm, [(25.405,-5.42,25.425,-2.435), (27.425,-5.42,27.45,-2.43)])
compr2.add(gdstk.Reference(sky130_fd_pr__nfet_01v8_, (6.19,-4.43)))
compr2.add(gdstk.Reference(sky130_fd_pr__nfet_01v8_, (11.62,-4.43)))
compr2.add(gdstk.Reference(sky130_fd_pr__pfet_01v8_, (8.65,3.095)))
compr2.add(gdstk.Reference(c_sky130_fd_pr__pfet_01v8_, (4.645,2.98), rotation=3*pi/2))
compr2.add(gdstk.Reference(sky130_fd_pr__nfet_01v8_, (17.05,-4.43)))
compr2.add(gdstk.Reference(sky130_fd_pr__pfet_01v8_, (12.08,3.095)))
compr2.add(gdstk.Reference(c_sky130_fd_pr__pfet_01v8__, (16.96,1.09)))
compr2.add(gdstk.Reference(c_sky130_fd_pr__pfet_01v8___, (18.76,5.395), rotation=3*pi/2))
compr2.add(gdstk.Reference(sky130_fd_pr__nfet_01v8_, (22.48,-4.43)))
compr2.add(gdstk.Reference(c_sky130_fd_pr__pfet_01v8__, (22.39,1.09)))
compr2.add(gdstk.Reference(c_sky130_fd_pr__pfet_01v8____, (26.34,1.105)))
compr2.add(gdstk.Reference(c_sky130_fd_pr__nfet_01v8_, (26.425,-3.925)))
compr2.add(gdstk.Reference(c_sky130_fd_pr__pfet_01v8_____, (28.365,3.11)))
compr2.add(gdstk.Reference(c_sky130_fd_pr__nfet_01v8__, (28.45,-4.42)))
compr2.add(gdstk.Label('vdd', (14.505,7.815), layer=68, texttype=5))
compr2.add(gdstk.Label('out', (29.375,-2.1), layer=68, texttype=5))
compr2.add(gdstk.Label('vss', (26.505,-6.235), layer=68, texttype=5))
compr2.add(gdstk.Label('in+', (8.555,-0.12), layer=68, texttype=5))
compr2.add(gdstk.Label('in-', (12.04,-0.29), layer=68, texttype=5))

lib.write_gds('compr2.gds')
